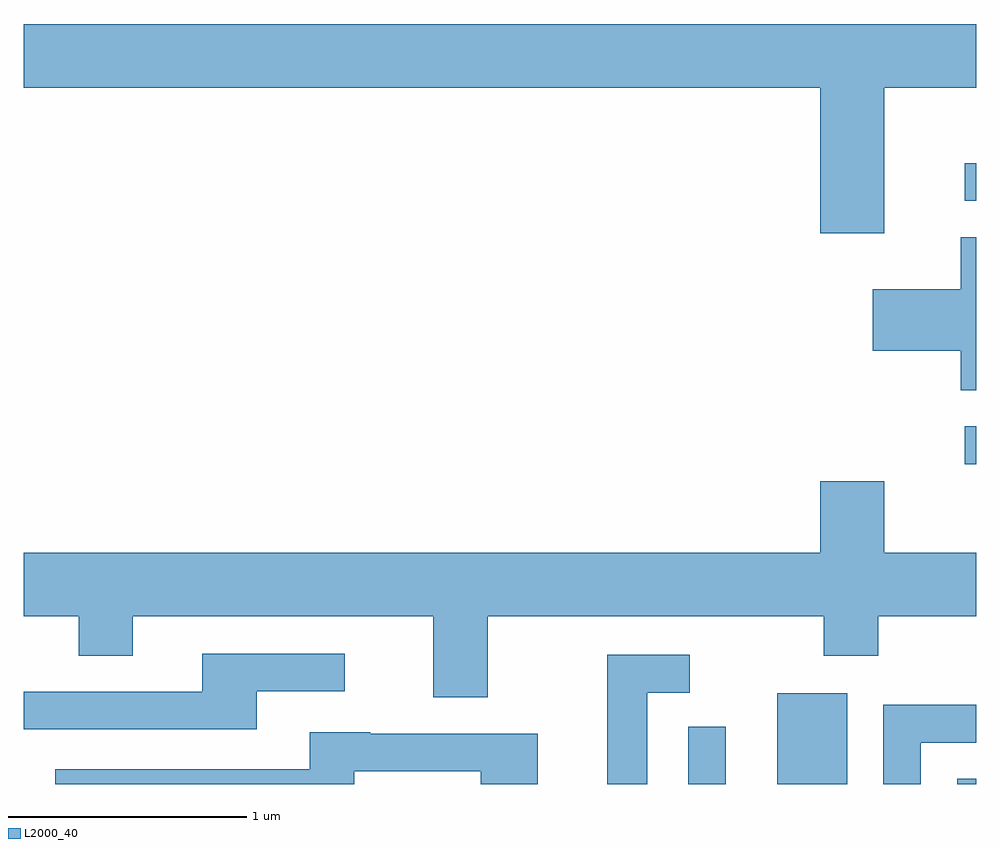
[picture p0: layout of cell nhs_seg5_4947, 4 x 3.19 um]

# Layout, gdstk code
import gdstk
lib = gdstk.Library(unit=1e-6, precision=1e-09)
def R(c, l, rs):  # rectangles x0, y0, x1, y1
    for r in rs: c.add(gdstk.rectangle(r[:2], r[2:], *l))
def P(c, l, *ps):  # polygons
    for p in ps: c.add(gdstk.Polygon(p, *l))
L2000_40 = (2000, 40)

nhs_seg5_4947 = lib.new_cell('nhs_seg5_4947')
R(nhs_seg5_4947, L2000_40, [(334.401,1476.072,334.559,1476.313), (334.776,1476.072,335.069,1476.454), (335.531,1476.072,335.611,1476.094), (335.563,1477.416,335.611,1477.574), (335.563,1478.521,335.611,1478.679)])
P(nhs_seg5_4947, L2000_40, [(335.224,1478.996),(335.611,1478.996),(335.611,1479.264),(331.611,1479.264),(331.611,1478.996),(334.956,1478.996),(334.956,1478.386),(335.224,1478.386)],
  [(335.611,1478.369),(335.546,1478.369),(335.546,1478.149),(335.176,1478.149),(335.176,1477.891),(335.546,1477.891),(335.546,1477.726),(335.611,1477.726)],
  [(333.559,1476.776),(334.971,1476.776),(334.971,1476.611),(335.199,1476.611),(335.199,1476.776),(335.611,1476.776),(335.611,1477.044),(335.224,1477.044),(335.224,1477.344),(334.956,1477.344),(334.956,1477.044),(331.611,1477.044),(331.611,1476.776),(331.841,1476.776),(331.841,1476.611),(332.069,1476.611),(332.069,1476.776),(333.331,1476.776),(333.331,1476.436),(333.559,1476.436)],
  [(332.589,1476.461),(332.958,1476.461),(332.958,1476.619),(332.361,1476.619),(332.361,1476.459),(331.611,1476.459),(331.611,1476.301),(332.589,1476.301)],
  [(334.229,1476.456),(334.408,1476.456),(334.408,1476.614),(334.061,1476.614),(334.061,1476.072),(334.229,1476.072)],
  [(335.379,1476.246),(335.611,1476.246),(335.611,1476.404),(335.221,1476.404),(335.221,1476.072),(335.379,1476.072)],
  [(332.999,1476.126),(333.531,1476.126),(333.531,1476.072),(333.769,1476.072),(333.769,1476.284),(333.065,1476.284),(333.065,1476.289),(332.811,1476.289),(332.811,1476.134),(331.743,1476.134),(331.743,1476.072),(332.999,1476.072)])

lib.write_gds('nhs_seg5_4947.gds')
